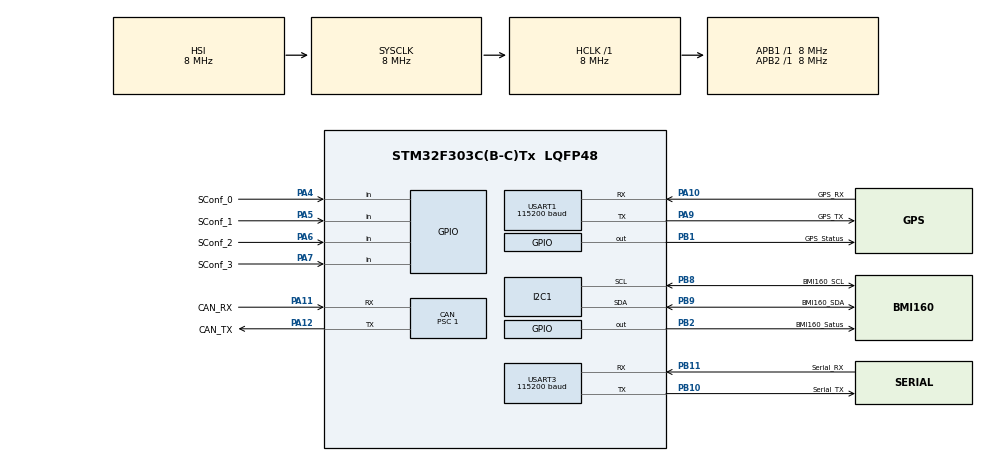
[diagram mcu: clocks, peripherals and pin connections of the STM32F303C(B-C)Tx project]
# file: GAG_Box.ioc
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CAN.BS1=CAN_BS1_13TQ
CAN.BS2=CAN_BS2_2TQ
CAN.CalculateTimeQuantum=125.0
CAN.Mode=CAN_MODE_NORMAL
CAN.Prescaler=1
Dma.Request0=USART1_RX
Dma.USART1_RX.0.Direction=DMA_PERIPH_TO_MEMORY
Dma.USART1_RX.0.Instance=DMA1_Channel5
Dma.USART1_RX.0.MemDataAlignment=DMA_MDATAALIGN_BYTE
Dma.USART1_RX.0.MemInc=DMA_MINC_ENABLE
Dma.USART1_RX.0.Mode=DMA_NORMAL
Dma.USART1_RX.0.PeriphDataAlignment=DMA_PDATAALIGN_BYTE
Dma.USART1_RX.0.PeriphInc=DMA_PINC_DISABLE
Dma.USART1_RX.0.Priority=DMA_PRIORITY_LOW
Mcu.Family=STM32F3
Mcu.Name=STM32F303C(B-C)Tx
Mcu.Package=LQFP48
NVIC.DMA1_Channel5_IRQn=true\:0\:0\:false\:false\:true\:false\:true
NVIC.PriorityGroup=NVIC_PRIORITYGROUP_4
NVIC.TIM1_UP_TIM16_IRQn=true\:0\:0\:false\:false\:true\:true\:true
NVIC.TIM2_IRQn=true\:0\:0\:false\:false\:true\:true\:true
NVIC.TIM3_IRQn=true\:0\:0\:false\:false\:true\:true\:true
NVIC.USART1_IRQn=true\:0\:0\:false\:false\:true\:true\:true
PA10.GPIO_Label=GPS_RX
PA10.GPIO_PuPd=GPIO_NOPULL
PA10.Mode=Asynchronous
PA10.Signal=USART1_RX
PA11.GPIO_Label=CAN_RX
PA11.Mode=Master
PA11.Signal=CAN_RX
PA12.GPIO_Label=CAN_TX
PA12.Mode=Master
PA12.Signal=CAN_TX
PA4.GPIO_Label=SConf_0
PA4.Signal=GPIO_Input
PA5.GPIO_Label=SConf_1
PA5.Signal=GPIO_Input
PA6.GPIO_Label=SConf_2
PA6.Signal=GPIO_Input
PA7.GPIO_Label=SConf_3
PA7.Signal=GPIO_Input
PA9.GPIO_Label=GPS_TX
PA9.GPIO_PuPd=GPIO_NOPULL
PA9.Mode=Asynchronous
PA9.Signal=USART1_TX
PB1.GPIO_Label=GPS_Status
PB1.Signal=GPIO_Output
PB10.GPIO_Label=Serial_TX
PB10.GPIO_PuPd=GPIO_NOPULL
PB10.Mode=Asynchronous
PB10.Signal=USART3_TX
PB11.GPIO_Label=Serial_RX
PB11.GPIO_PuPd=GPIO_NOPULL
PB11.Mode=Asynchronous
PB11.Signal=USART3_RX
PB2.GPIO_Label=BMI160_Satus
PB2.Signal=GPIO_Output
PB8.GPIO_Label=BMI160_SCL
PB8.GPIO_PuPdOD=GPIO_NOPULL
PB8.Mode=I2C
PB8.Signal=I2C1_SCL
PB9.GPIO_Label=BMI160_SDA
PB9.GPIO_PuPdOD=GPIO_NOPULL
PB9.Mode=I2C
PB9.Signal=I2C1_SDA
ProjectManager.HeapSize=0x200
ProjectManager.StackSize=0x400
ProjectManager.TargetToolchain=SW4STM32
RCC.AHBFreq_Value=8000000
RCC.APB1Freq_Value=8000000
RCC.APB2Freq_Value=8000000
RCC.CortexFreq_Value=8000000
RCC.HSE_VALUE=8000000
RCC.HSI_VALUE=8000000
RCC.LSE_VALUE=32768
RCC.SYSCLKFreq_VALUE=8000000
TIM1.Period=250
TIM1.Prescaler=8000
TIM2.Period=100
TIM2.Prescaler=8000
TIM3.Period=20
TIM3.Prescaler=8000
USART1.BaudRate=115200
USART1.SwapParam=ADVFEATURE_SWAP_DISABLE
USART1.VirtualMode-Asynchronous=VM_ASYNC
USART3.BaudRate=115200
USART3.VirtualMode-Asynchronous=VM_ASYNC
VP_TIM1_VS_ClockSourceINT.Mode=Internal
VP_TIM1_VS_ClockSourceITR.Mode=TriggerSource_ITR0
VP_TIM2_VS_ClockSourceINT.Mode=Internal
VP_TIM2_VS_ClockSourceITR.Mode=TriggerSource_ITR1
VP_TIM3_VS_ClockSourceINT.Mode=Internal
VP_TIM3_VS_ClockSourceITR.Mode=TriggerSource_ITR2
board=custom

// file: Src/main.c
/* USER CODE BEGIN Header */
/**
  ******************************************************************************
  * @file           : main.c
  * @brief          : Main program body
  ******************************************************************************
  * @attention
  *
  * <h2><center>&copy; Copyright (c) 2019 STMicroelectronics.
  * All rights reserved.</center></h2>
  *
  * This software component is licensed by ST under BSD 3-Clause license,
  * the "License"; You may not use this file except in compliance with the
  * License. You may obtain a copy of the License at:
  *                        opensource.org/licenses/BSD-3-Clause
  *
  ******************************************************************************
  */
/* USER CODE END Header */
#include "main.h"
#include "can.h"
#include "dma.h"
#include "i2c.h"
#include "tim.h"
#include "usart.h"
#include "gpio.h"

/* USER CODE BEGIN Includes */
#include <stdio.h>
#include <string.h>
#include <stdlib.h>

#include "gps.h"
#include "bmi160.h"
/* USER CODE END Includes */

/* USER CODE BEGIN PD */
#define GPS_UART 	huart1	//UART for GPS
#define DEVICE_UART 	huart3	//UART for message receiving device
#define ACCEL_I2C 	hi2c1	//I2C for accelerometer

//CAN base address
#define CAN_ADDRESS (0x1A0)	//CAN base address
#define CAN_MSG_ACCEL_ID (0x1)	//CAN accel message id
#define CAN_MSG_GYRO_ID (0x2)	//CAN gyro message id
#define CAN_MSG_GPS1_ID (0x3)	//CAN gps1 message id
#define CAN_MSG_GPS2_ID (0x4)	//CAN gps2 message id

#define ACCEL_ADDRESS (0x68<<1)	//Accelerometer I2C address

//status LEDs
#define GPS_LED GPIOB,GPIO_PIN_1	//GPS status LED pin
#define ACCEL_LED GPIOB,GPIO_PIN_2	//Accelerometer status LED pin

#define FLAG_BMI160_STATUS	0x0080

#define TIM1_INT		0x0080

#define SET_FLAG(flag)		(statusFlags |= flag)
#define RESET_FLAG(flag)	(statusFlags &= ~flag)
#define READ_FLAG(flag)		(statusFlags & flag)
/* USER CODE END PD */

/* USER CODE BEGIN PV */
uint8_t timeoutCounter=0;
uint8_t timeoutCycles = 5;
uint8_t timeoutCounterUntilSelfTest=0;
uint8_t timeoutCyclesUntilSelfTest = 10;

uint64_t statusFlags = 0x0000;

struct bmi160_dev sensor;
struct bmi160_sensor_data accel;
struct bmi160_sensor_data gyro;

uint32_t txMailbox;		// CAN Tx-Mailbox
CAN_RxHeaderTypeDef   RxHeader;
uint8_t               RxData[8];

__IO ITStatus GPSUartReady = SET;
/*
Bits

-- GPS flags --
00: Status		0: no connection	1: connected
01: data Status		0: data invalid		1: data valid
02: message receive	0: no reception		1: receive ongoing
03: message pending	0: buffer empty		1: message in buffer
04:
05:
06:
07:

-- BMI160 flags --
08: Status
09: CAN message pending
10:
11:
12:
13:
14:
15:

-- UART flags --
16:
17:
18:
19:

-- CAN flags --
14: CAN message pending
15:
16:
17:

-- general flags --
18: timer interrupt
19:
1A:
1B:
1C:
1D:
1E:
1F:
*/

/* USER CODE END PV */

void SystemClock_Config(void);
/* USER CODE BEGIN PFP */
void DeviceStatus(void); //set status LEDs
void SendMsgToUart(char[]);
uint32_t SendCANMsg(uint8_t*, uint8_t, uint8_t); //set CAN header and send data to CAN

void CAN_Config(void); //configure CAN and CAN filter

void InitBMI160();
void BMI160SelfTest();
void ReadAndSendAccelData();
void SendGPSData();

// Methods passed to bosch driver methods
int8_t bmi_read_i2c(uint8_t dev_addr, uint8_t reg_addr, uint8_t *data, uint16_t len);
int8_t bmi_write_i2c(uint8_t dev_addr, uint8_t reg_addr, uint8_t *data, uint16_t len);
void bmi_delay_i2c(uint32_t period);
/* USER CODE END PFP */

int main(void)
{

  /* MCU Configuration--------------------------------------------------------*/

  /* Reset of all peripherals, Initializes the Flash interface and the Systick. */
  HAL_Init();

  /* Configure the system clock */
  SystemClock_Config();

  /* Initialize all configured peripherals */
  MX_GPIO_Init();
  MX_DMA_Init();
  MX_CAN_Init();
  MX_I2C1_Init();
  MX_USART1_UART_Init();
  MX_USART3_UART_Init();
  MX_TIM2_Init();
  MX_TIM1_Init();
  MX_TIM3_Init();
  /* USER CODE BEGIN 2 */
  SendMsgToUart("\n\n****************\n\rSoftware starting up\n\r****************\n");

  //initialize BMI160
  InitBMI160();
  BMI160SelfTest();

  // Enable the Analog I2C Filter
  HAL_I2CEx_ConfigAnalogFilter(&hi2c1,I2C_ANALOGFILTER_ENABLE);

  //configure CAN and CAN filter
  CAN_Config();

  //start CAN communication
  if(HAL_CAN_Start(&hcan) != HAL_OK)
    Error_Handler();

  //activate CAN message interrupt --> interrupts are currently deactivated through cubeMx as no CAN messages need to be received at this point in time!
  if(HAL_CAN_ActivateNotification(&hcan, CAN_IT_RX_FIFO0_MSG_PENDING) != HAL_OK)
    Error_Handler();

  HAL_TIM_Base_Start_IT(&htim1);
  HAL_TIM_Base_Start_IT(&htim2);
  HAL_TIM_Base_Start_IT(&htim3);

  // Initialize empty message buffer for gps messages
  InitMsgBuffer();

  HAL_GPIO_WritePin(ACCEL_LED,1);
  HAL_GPIO_WritePin(GPS_LED,1);
  /* USER CODE END 2 */

  /* Infinite loop */
  /* USER CODE BEGIN WHILE */
  while (1)
  {
	  HAL_UART_Receive_IT(&GPS_UART, (uint8_t*)&gps_CharBuffer, 1);

      if(READ_FLAG(TIM1_INT))
      {
    	  DeviceStatus();
    	  RESET_FLAG(TIM1_INT);	//reset status flag
      }
    /* USER CODE END WHILE */

  }
}

void SystemClock_Config(void)
{
  RCC_OscInitTypeDef RCC_OscInitStruct = {0};
  RCC_ClkInitTypeDef RCC_ClkInitStruct = {0};
  RCC_PeriphCLKInitTypeDef PeriphClkInit = {0};

  /** Initializes the RCC Oscillators according to the specified parameters
  * in the RCC_OscInitTypeDef structure.
  */
  RCC_OscInitStruct.OscillatorType = RCC_OSCILLATORTYPE_HSI;
  RCC_OscInitStruct.HSIState = RCC_HSI_ON;
  RCC_OscInitStruct.HSICalibrationValue = RCC_HSICALIBRATION_DEFAULT;
  RCC_OscInitStruct.PLL.PLLState = RCC_PLL_NONE;
  if (HAL_RCC_OscConfig(&RCC_OscInitStruct) != HAL_OK)
  {
    Error_Handler();
  }
  /** Initializes the CPU, AHB and APB buses clocks
  */
  RCC_ClkInitStruct.ClockType = RCC_CLOCKTYPE_HCLK|RCC_CLOCKTYPE_SYSCLK
                              |RCC_CLOCKTYPE_PCLK1|RCC_CLOCKTYPE_PCLK2;
  RCC_ClkInitStruct.SYSCLKSource = RCC_SYSCLKSOURCE_HSI;
  RCC_ClkInitStruct.AHBCLKDivider = RCC_SYSCLK_DIV1;
  RCC_ClkInitStruct.APB1CLKDivider = RCC_HCLK_DIV1;
  RCC_ClkInitStruct.APB2CLKDivider = RCC_HCLK_DIV1;

  if (HAL_RCC_ClockConfig(&RCC_ClkInitStruct, FLASH_LATENCY_0) != HAL_OK)
  {
    Error_Handler();
  }
  PeriphClkInit.PeriphClockSelection = RCC_PERIPHCLK_USART1|RCC_PERIPHCLK_USART3
                              |RCC_PERIPHCLK_I2C1|RCC_PERIPHCLK_TIM1;
  PeriphClkInit.Usart1ClockSelection = RCC_USART1CLKSOURCE_PCLK2;
  PeriphClkInit.Usart3ClockSelection = RCC_USART3CLKSOURCE_PCLK1;
  PeriphClkInit.I2c1ClockSelection = RCC_I2C1CLKSOURCE_HSI;
  PeriphClkInit.Tim1ClockSelection = RCC_TIM1CLK_HCLK;
  if (HAL_RCCEx_PeriphCLKConfig(&PeriphClkInit) != HAL_OK)
  {
    Error_Handler();
  }
}

/* USER CODE BEGIN 4 */

/**
 * Check device status
 */
void DeviceStatus(void)
{

  //set acceleration module status
  if(READ_FLAG(FLAG_BMI160_STATUS))
  {
      HAL_GPIO_WritePin(ACCEL_LED,0);
  }
  else
  {
      HAL_GPIO_WritePin(ACCEL_LED,1);
  }

  //set GPS status
  if(timeoutCounter >=  timeoutCycles)
  {
    HAL_GPIO_WritePin(GPS_LED,1);
    RESET_FLAG(FLAG_GPS_STATUS);
  }
  else
  {
    char* gpsStat = GetGpsData(gps_MsgBuffer,GPS_RMC_CHECK);
    gpsStat = GetGpsData(gps_MsgBuffer,GPS_RMC_STATUS);
    if(*gpsStat == 'A')
    {
      HAL_GPIO_WritePin(GPS_LED,0);
      SET_FLAG(FLAG_GPS_DATA);	//set status 'TRUE'
    }
    else if(*gpsStat == 'V')
    {
      HAL_GPIO_TogglePin(GPS_LED);
      RESET_FLAG(FLAG_GPS_DATA);	//set status 'FALSE'
    }
    else
    {
      HAL_GPIO_WritePin(GPS_LED,1);
      RESET_FLAG(FLAG_GPS_DATA);	//set status 'FALSE'
    }
  }
}

/**
 * Create and send CAN message
 */
uint32_t SendCANMsg(uint8_t* dataAddress, uint8_t id, uint8_t messageSize)
{
  //create CAN TxHeader
  CAN_TxHeaderTypeDef txHeader;
  txHeader.RTR = CAN_RTR_DATA;
  txHeader.IDE = CAN_ID_STD;
  txHeader.StdId = CAN_ADDRESS + id;
  txHeader.DLC = messageSize;
  txHeader.TransmitGlobalTime = DISABLE;

  //wait while message is pending
  while(HAL_CAN_IsTxMessagePending(&hcan, txMailbox)==1)
  {
  }

  //send data to CAN
  if(HAL_CAN_AddTxMessage(&hcan, &txHeader, dataAddress, &txMailbox)!=HAL_OK)
	  return(HAL_CAN_GetError(&hcan));
  else
  {
	  return(HAL_CAN_ERROR_NONE);
  }

}

/**
 * UART interrupt handler.
 * Builds gps message after GPS-UART buffer is empty.
 */
void HAL_UART_RxCpltCallback(UART_HandleTypeDef *huart)
{
  if(huart == &GPS_UART)
  {
	GPSUartReady = RESET;
    if(gps_CharBuffer == '$')
    {
      SET_FLAG(FLAG_GPS_MSG_RECEIVE);

      //clear message array
      memset(gps_ReceiveMsg,'\0',strlen(gps_ReceiveMsg)*sizeof(char));
    }
    else if(gps_CharBuffer == '\r' || gps_CharBuffer == '\n' || gps_CharBuffer == EOF)
    {
      RESET_FLAG(FLAG_GPS_MSG_RECEIVE);
    }

    if(READ_FLAG(FLAG_GPS_MSG_RECEIVE))
    {
      strcat(gps_ReceiveMsg, &gps_CharBuffer);

      HAL_UART_Receive_IT(&GPS_UART, (uint8_t*)&gps_CharBuffer, 1);
    }
    else
    {
      timeoutCounter = 0;

      if(READ_FLAG(FLAG_GPS_STATUS))
      {
    	  //HAL_UART_Transmit(&DEVICE_UART, gps_ReceiveMsg, strlen(gps_ReceiveMsg),100);
    	  SortGpsData(gps_MsgBuffer,gps_ReceiveMsg);
      }
      else
    	  SET_FLAG(FLAG_GPS_STATUS);
    }

    GPSUartReady = SET;
  }
}

/**
 * UART error handler
 */
void HAL_UART_ErrorCallback(UART_HandleTypeDef *huart)
{
  uint32_t error = HAL_UART_GetError(&GPS_UART);

  if(error != HAL_UART_ERROR_NONE && huart == &GPS_UART)
  {
	  // Most likely overrun error, if implementation doesn't change then error handling should be applied here
  }
}

/**
 * Configures CAN filter
 */
void CAN_Config(void)
{
  CAN_FilterTypeDef  CanFilter;

  CanFilter.FilterBank = 0;
  CanFilter.FilterMode = CAN_FILTERMODE_IDMASK;
  CanFilter.FilterScale = CAN_FILTERSCALE_32BIT;
  CanFilter.FilterIdHigh = 0x0000;
  CanFilter.FilterIdLow = 0x0000;
  CanFilter.FilterMaskIdHigh = 0x0000;
  CanFilter.FilterMaskIdLow = 0x0000;
  CanFilter.FilterFIFOAssignment = CAN_RX_FIFO0;
  CanFilter.FilterActivation = ENABLE;
  CanFilter.SlaveStartFilterBank = 14;

  //activate CAN filter
  if (HAL_CAN_ConfigFilter(&hcan, &CanFilter) != HAL_OK)
  {
    Error_Handler();
  }
}

/**
 * CAN rx interrupt callback.
 * Just stores the received data. Currently no functionality to receive messages is implemented.
 */
void HAL_CAN_RxFifo0MsgPendingCallback(CAN_HandleTypeDef *hcan)
{
	/* Get RX message */
	if (HAL_CAN_GetRxMessage(hcan, CAN_RX_FIFO0, &RxHeader, RxData) != HAL_OK)
	{
	/* Reception Error */
	Error_Handler();
	}
}

void HAL_GPIO_EXTI_Callback(uint16_t GPIO_IT_PIN)
{
}

/**
 * Timer interrupt callback.
 * Send CAN messages containing the measured data.
 */
void HAL_TIM_PeriodElapsedCallback(TIM_HandleTypeDef *htim)
{

	if (htim->Instance == TIM1) {
		  if(timeoutCounter < timeoutCycles)
		  {
		      timeoutCounter++;
		  }

		  SET_FLAG(TIM1_INT);	//set TIM1_INT status flag
	}
	if (htim->Instance == TIM2)
	{
		SendGPSData();
	}
	if (htim->Instance == TIM3)
	{
		ReadAndSendAccelData();
	}
}

/**
 * Send current GPS data to CAN
 */
void SendGPSData()
{
	uint16_t lat[3] = { 0 };
	getLatOrLon(RESET, &lat[0]);

	uint16_t lon[3] = { 0 };
	getLatOrLon(SET, &lon[0]);

	uint8_t gpsMsg1[8] = { 0 };
	gpsMsg1[0] = (uint8_t) lat[0];
	gpsMsg1[1] = (uint8_t) lat[1];
	gpsMsg1[2] = (lat[2] & 0x00FF);
	gpsMsg1[3] = (lat[2] & 0xFF00) >> 8;
	gpsMsg1[4] = (uint8_t) lon[0];
	gpsMsg1[5] = (uint8_t) lon[1];
	gpsMsg1[6] = (lon[2] & 0x00FF);
	gpsMsg1[7] = (lon[2] & 0xFF00) >> 8;

	char* status = GetGpsData(gps_MsgBuffer,GPS_RMC_STATUS);
	if (status[0] == 'A')
		gpsMsg1[0] = gpsMsg1[0] | 0x80; // set MSB to one if status = A

	char* nsIndicator = GetGpsData(gps_MsgBuffer,GPS_GGA_NSINDICATOR);
	if (nsIndicator[0] == 'N')
		gpsMsg1[1] = gpsMsg1[1] | 0x80; // set MSB to one if north

	char* ewIndicator = GetGpsData(gps_MsgBuffer,GPS_GGA_EWINDICATOR);
	if (ewIndicator[0] == 'E')
		gpsMsg1[5] = gpsMsg1[5] | 0x80; // set MSB to one if east

	uint32_t speed = getSpeed();
	int32_t altitude = getAltitude();
	uint8_t satellites = getSatellites();

	uint8_t gpsMsg2[8] = { 0 };
	gpsMsg2[0] = (speed & 0x000000FF);
	gpsMsg2[1] = (speed & 0x0000FF00) >> 8;
	gpsMsg2[2] = (speed & 0x00FF0000) >> 16;
	gpsMsg2[3] = (speed & 0xFF000000) >> 24;
	gpsMsg2[4] = (altitude & 0x000000FF);
	gpsMsg2[5] = (altitude & 0x0000FF00) >> 8;
	gpsMsg2[6] = (altitude & 0x00FF0000) >> 16;
	gpsMsg2[7] = (altitude & 0xFF000000) >> 24;

	gpsMsg2[3] = gpsMsg2[3] | (satellites << 4);

	SendCANMsg(&gpsMsg1[0], CAN_MSG_GPS1_ID, 8);
	SendCANMsg(&gpsMsg2[0], CAN_MSG_GPS2_ID, 8);
}

/**
 * Initializes and configures the BMI160
 * When accel or gyro range is changed you have to change factor in dbc files as you will receive differently calculated values.
 */
void InitBMI160()
{
	/* Basic Config */
	sensor.id = BMI160_I2C_ADDR;
	sensor.interface = BMI160_I2C_INTF;
	sensor.read = &bmi_read_i2c;
	sensor.write = &bmi_write_i2c;
	sensor.delay_ms = &bmi_delay_i2c;

	int8_t initResult = bmi160_init(&sensor);

	/* Select the Output data rate, range of accelerometer sensor */
	sensor.accel_cfg.odr = BMI160_ACCEL_ODR_1600HZ;
	sensor.accel_cfg.range = BMI160_ACCEL_RANGE_4G;
	sensor.accel_cfg.bw = BMI160_ACCEL_BW_NORMAL_AVG4;

	/* Select the power mode of accelerometer sensor */
	sensor.accel_cfg.power = BMI160_ACCEL_NORMAL_MODE;

	/* Select the Output data rate, range of Gyroscope sensor */
	sensor.gyro_cfg.odr = BMI160_GYRO_ODR_3200HZ;
	sensor.gyro_cfg.range = BMI160_GYRO_RANGE_2000_DPS;
	sensor.gyro_cfg.bw = BMI160_GYRO_BW_NORMAL_MODE;

	/* Select the power mode of Gyroscope sensor */
	sensor.gyro_cfg.power = BMI160_GYRO_NORMAL_MODE;

	/* Set the sensor configuration */
	int8_t sensorConfigResult = bmi160_set_sens_conf(&sensor);
	char initMsg[100];
	sprintf(initMsg, "\rInit BMI160: \n\rInitRslt: %d \n\rConfRslt: %d \n",initResult, sensorConfigResult );

	SendMsgToUart(initMsg);
}

/**
 * Self tests the BMI160
 * bmi160_init must have been called once before self test.
 * Self test resets config, that's why InitBMI160 is called again in this function.
 *
 */
void BMI160SelfTest() {
	sensor.accel_cfg.range = BMI160_ACCEL_RANGE_8G;
	bmi160_set_sens_conf(&sensor);

  	int8_t selfTestAccel = bmi160_perform_self_test(BMI160_ACCEL_ONLY, &sensor);

  	InitBMI160();

  	int8_t selfTestGyro = bmi160_perform_self_test(BMI160_GYRO_ONLY, &sensor);

  	char selfTestMsg[50];
  	sprintf(selfTestMsg, "\r\n\rSelfTestResult - Accel: %d Gyro: %d \n",selfTestAccel, selfTestGyro);
  	SendMsgToUart(selfTestMsg);

  	if (selfTestAccel == BMI160_OK && selfTestGyro == BMI160_OK) {
  		SET_FLAG(FLAG_BMI160_STATUS);
  	} else {
  		RESET_FLAG(FLAG_BMI160_STATUS);
  	}

  	InitBMI160();
}

void SendMsgToUart(char msgText[]) {
	  char msgOutUART[100];	//message for UART
	  //create UART message
	  memset(msgOutUART,'\0',sizeof(msgOutUART));
	  strcat(msgOutUART,msgText);
	  strcat(msgOutUART,"\r\n");
	  //send UART message
	  if (HAL_UART_Transmit(&DEVICE_UART,(uint8_t*)&msgOutUART,(uint16_t)sizeof(msgOutUART),1000) != HAL_OK)
	  {
		  Error_Handler();
	  }
	  memset(msgOutUART,'\0',sizeof(msgOutUART));
}

/**
 * Reads and sends current accel and gyro data to CAN bus
 */
void ReadAndSendAccelData()
{
    bmi160_get_sensor_data((BMI160_ACCEL_SEL | BMI160_GYRO_SEL), &accel, &gyro, &sensor);

    int16_t accelMsg[] = { accel.x, accel.y, accel.z };
    SendCANMsg((uint8_t*)&accelMsg[0], CAN_MSG_ACCEL_ID, 6);

    int16_t gyroMsg[] = { gyro.x, gyro.y, gyro.z };
    SendCANMsg((uint8_t*)&gyroMsg[0], CAN_MSG_GYRO_ID, 6);
}

/**
 * Read function to configure bmi160
 */
int8_t bmi_read_i2c(uint8_t dev_addr, uint8_t reg_addr, uint8_t *data, uint16_t len)
{
	int checkvar;
	int shifted_adress = dev_addr << 1;
	checkvar = HAL_I2C_Mem_Read(&ACCEL_I2C, (uint16_t) shifted_adress, (uint16_t) reg_addr, sizeof(reg_addr), data, len, 100);

	return checkvar;
}

/**
 * Write function to configure bmi160;
 */
int8_t bmi_write_i2c(uint8_t dev_addr, uint8_t reg_addr, uint8_t *data, uint16_t len)
{

	int shifted_adress = dev_addr << 1;
	int checkvar = HAL_I2C_Mem_Write(&ACCEL_I2C, (uint16_t) shifted_adress, (uint16_t) reg_addr, sizeof(reg_addr), data, len, 100);

	return checkvar;
}

/**
 * Delay function to configure bmi160
 */
void bmi_delay_i2c(uint32_t period)
{
	HAL_Delay(period);
}

/* USER CODE END 4 */

void Error_Handler(void)
{
}

/************************ (C) COPYRIGHT STMicroelectronics *****END OF FILE****/
